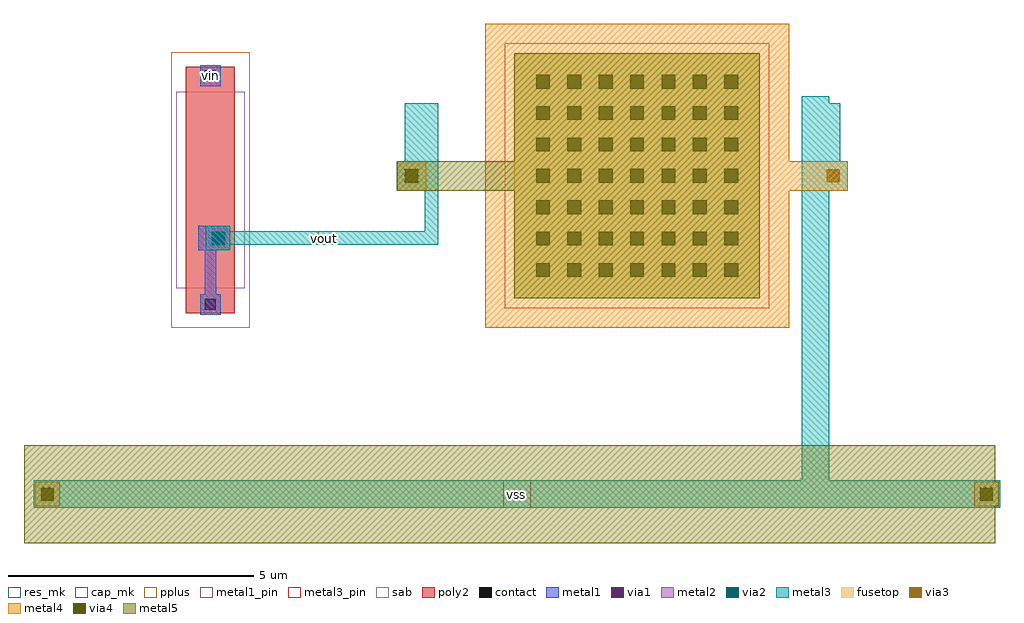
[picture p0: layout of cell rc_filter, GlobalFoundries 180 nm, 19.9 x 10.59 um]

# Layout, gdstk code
import gdstk
lib = gdstk.Library(unit=1e-6, precision=5e-09)
def R(c, l, rs):  # rectangles x0, y0, x1, y1
    for r in rs: c.add(gdstk.rectangle(r[:2], r[2:], *l))
def A(c, l, x, y, w, h, nx, ny, dx, dy):  # array of equal rectangles
    R(c, l, [(x+i*dx, y+j*dy, x+i*dx+w, y+j*dy+h) for i in range(nx) for j in range(ny)])
poly2 = (30, 0)
pplus = (31, 0)
contact = (33, 0)
metal1 = (34, 0)
metal1_pin = (34, 10)
via1 = (35, 0)
metal2 = (36, 0)
via2 = (38, 0)
via3 = (40, 0)
via4 = (41, 0)
metal3 = (42, 0)
metal3_pin = (42, 10)
metal4 = (46, 0)
sab = (49, 0)
fusetop = (75, 0)
metal5 = (81, 0)
res_mk = (110, 5)
cap_mk = (117, 5)

rc_filter = lib.new_cell('rc_filter')
R(rc_filter, poly2, [(-6.6,0.3,-5.6,5.32)])
R(rc_filter, pplus, [(-6.9,0,-5.3,5.62)])
R(rc_filter, contact, [(-6.21,0.37,-5.99,0.59), (-6.21,5.03,-5.99,5.25)])
R(rc_filter, metal1, [(-6.31,0.27,-5.89,0.69), (-6.215,0.365,-5.985,1.945), (-6.35,1.58,-5.69,2.08), (-6.19,1.58,-5.69,2.08), (-6.31,4.93,-5.89,5.35)])
R(rc_filter, metal1_pin, [(-6.215,5.025,-5.985,5.255)])
R(rc_filter, via1, [(-6.07,1.7,-5.81,1.96)])
R(rc_filter, metal2, [(-6.19,1.58,-5.69,2.08)])
R(rc_filter, via2, [(-6.07,1.7,-5.81,1.96)])
R(rc_filter, via3, [(-9.55,-3.52,-9.29,-3.26), (9.59,-3.52,9.85,-3.26), (-2.13,2.97,-1.87,3.23), (6.47,2.97,6.73,3.23)])
A(rc_filter, via4, 0.54, 1.04, 0.28, 0.28, 7, 7, 0.64, 0.64)
R(rc_filter, via4, [(-9.55,-3.52,-9.29,-3.26), (9.59,-3.52,9.85,-3.26), (-2.14,2.96,-1.86,3.24)])
R(rc_filter, metal3, [(-9.7,-3.67,10,-3.11), (5.96,-3.67,6.52,4.72), (-9.67,-3.64,-9.17,-3.14), (9.47,-3.64,9.97,-3.14), (-6.19,1.58,-5.69,2.08), (-6.08,1.69,-1.45,1.97), (-1.73,1.69,-1.45,4.58), (-2.3,2.8,-1.7,3.4), (6.3,2.8,6.9,3.4), (-2.14,2.96,-1.86,4.58), (-1.86,2.96,-1.73,4.58), (6.46,2.96,6.74,4.58), (-2.14,4.3,-1.45,4.58), (6.1,4.3,6.74,4.58)])
R(rc_filter, metal3_pin, [(-0.13,-3.67,0.43,-3.11), (-3.905,1.69,-3.625,1.97)])
R(rc_filter, metal4, [(-9.67,-3.64,-9.17,-3.14), (9.47,-3.64,9.97,-3.14), (-0.5,0,5.7,6.2), (-2.3,2.8,-1.7,3.4), (-2.3,2.8,-1.7,3.4), (-2.3,2.8,-1.7,3.4), (5.7,2.8,6.9,3.4), (6.3,2.8,6.9,3.4)])
R(rc_filter, sab, [(-6.8,0.81,-5.4,4.81)])
R(rc_filter, fusetop, [(0.1,0.6,5.1,5.6)])
R(rc_filter, metal5, [(-9.9,-4.39,9.9,-2.39), (-9.67,-3.64,-9.17,-3.14), (9.47,-3.64,9.97,-3.14), (0.1,0.6,5.1,5.6), (-2.3,2.8,0.1,3.4), (-2.3,2.8,-1.7,3.4)])
R(rc_filter, res_mk, [(-6.8,0.81,-5.4,4.81)])
R(rc_filter, cap_mk, [(-0.1,0.4,5.3,5.8)])
rc_filter.add(gdstk.Label('vss', (0.15,-3.39), layer=42, texttype=10))
rc_filter.add(gdstk.Label('vout', (-3.765,1.83), layer=42, texttype=10))
rc_filter.add(gdstk.Label('vin', (-6.1,5.14), layer=34, texttype=10))

lib.write_gds('rc_filter.gds')
